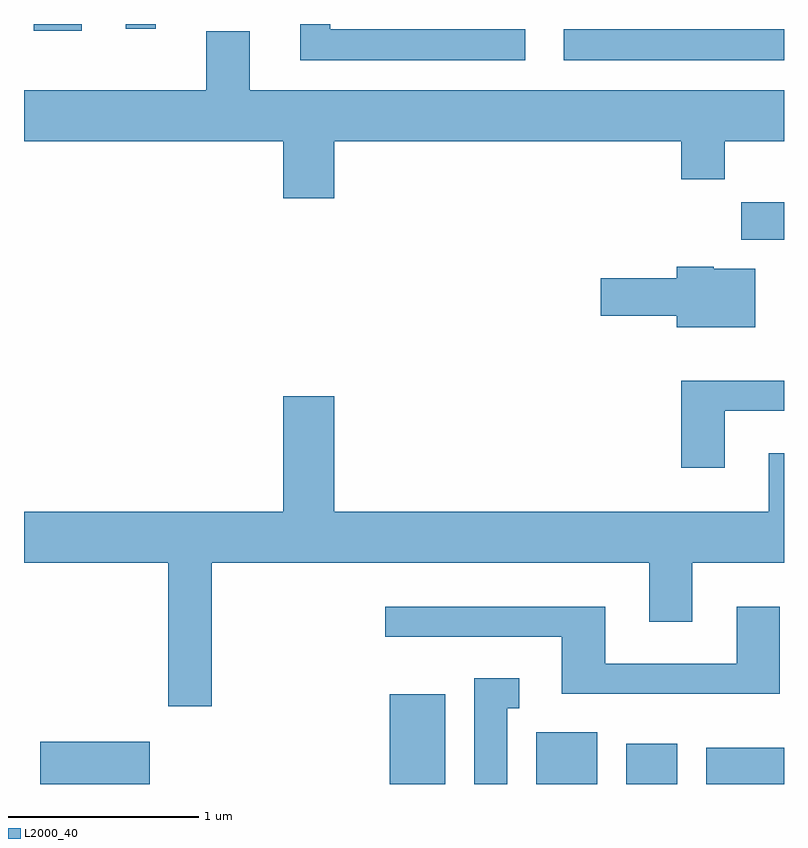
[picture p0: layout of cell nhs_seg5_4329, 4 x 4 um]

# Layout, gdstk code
import gdstk
lib = gdstk.Library(unit=1e-6, precision=1e-09)
def R(c, l, rs):  # rectangles x0, y0, x1, y1
    for r in rs: c.add(gdstk.rectangle(r[:2], r[2:], *l))
def P(c, l, *ps):  # polygons
    for p in ps: c.add(gdstk.Polygon(p, *l))
L2000_40 = (2000, 40)

nhs_seg5_4329 = lib.new_cell('nhs_seg5_4329')
R(nhs_seg5_4329, L2000_40, [(313.696,1460.072,314.274,1460.294), (315.536,1460.072,315.829,1460.544), (316.306,1460.072,316.629,1460.344), (316.781,1460.072,317.049,1460.284), (317.201,1460.072,317.611,1460.264), (317.386,1462.936,317.611,1463.134), (316.453,1463.881,317.611,1464.044), (313.661,1464.036,313.914,1464.072), (314.146,1464.048,314.304,1464.072)])
P(nhs_seg5_4329, L2000_40, [(316.248,1464.044),(315.224,1464.044),(315.224,1464.072),(315.066,1464.072),(315.066,1463.881),(316.248,1463.881)],
  [(314.799,1464.034),(314.571,1464.034),(314.571,1463.724),(313.611,1463.724),(313.611,1463.456),(314.976,1463.456),(314.976,1463.156),(315.244,1463.156),(315.244,1463.456),(317.071,1463.456),(317.071,1463.256),(317.299,1463.256),(317.299,1463.456),(317.611,1463.456),(317.611,1463.724),(314.799,1463.724)],
  [(317.459,1462.784),(317.24,1462.784),(317.24,1462.794),(317.046,1462.794),(317.046,1462.734),(316.646,1462.734),(316.646,1462.536),(317.046,1462.536),(317.046,1462.476),(317.459,1462.476)],
  [(317.299,1462.036),(317.611,1462.036),(317.611,1462.194),(317.071,1462.194),(317.071,1461.736),(317.299,1461.736)],
  [(314.599,1461.236),(316.901,1461.236),(316.901,1460.926),(317.129,1460.926),(317.129,1461.236),(317.611,1461.236),(317.611,1461.814),(317.531,1461.814),(317.531,1461.504),(315.244,1461.504),(315.244,1462.114),(314.976,1462.114),(314.976,1461.504),(313.611,1461.504),(313.611,1461.236),(314.371,1461.236),(314.371,1460.481),(314.599,1460.481)],
  [(317.589,1461.004),(317.361,1461.004),(317.361,1460.704),(316.669,1460.704),(316.669,1461.004),(315.513,1461.004),(315.513,1460.846),(316.441,1460.846),(316.441,1460.546),(317.589,1460.546)],
  [(316.154,1460.471),(316.218,1460.471),(316.218,1460.629),(315.981,1460.629),(315.981,1460.072),(316.154,1460.072)])

lib.write_gds('nhs_seg5_4329.gds')
